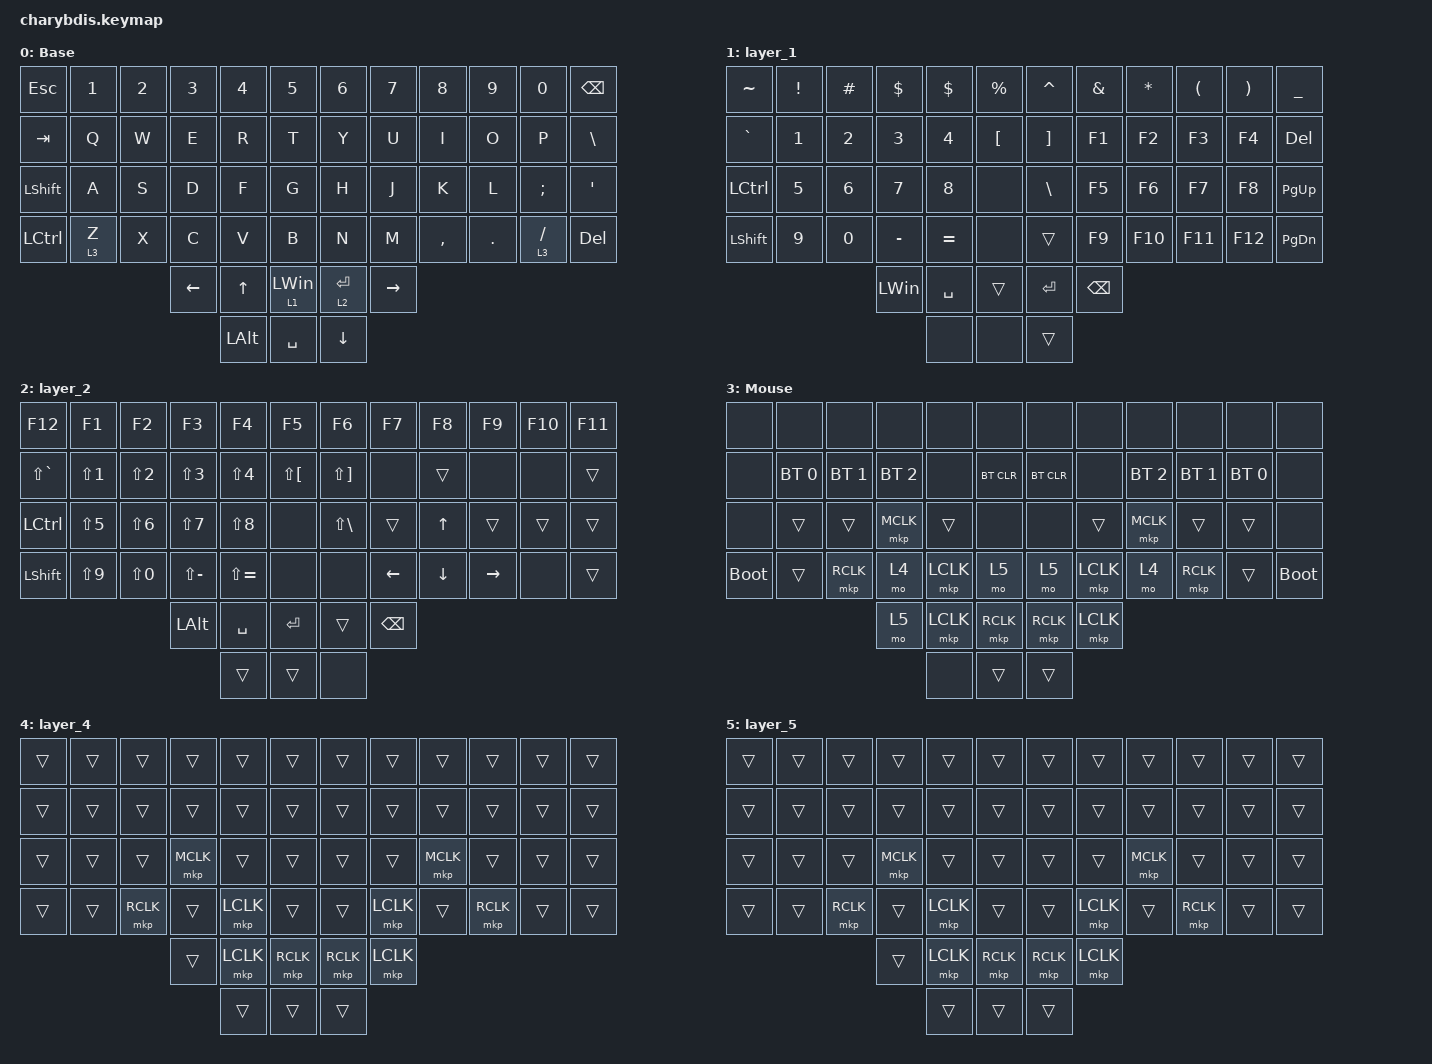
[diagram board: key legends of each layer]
#include <behaviors.dtsi>
#include <dt-bindings/zmk/bt.h>
#include <dt-bindings/zmk/keys.h>
#include <dt-bindings/zmk/mouse.h>

&lt {
    tapping-term-ms = <200>;
    flavor = "balanced";
    quick-tap-ms = <150>;
};

/ {
    combos {
        compatible = "zmk,combos";

        escc {
            bindings = <&kp ESC>;
            key-positions = <17 18>;
            layers = <0>;
        };
    };

    trackball_listener {
        compatible = "zmk,input-behavior-listener";
        device = <&vtrackball>;
        layers = <0 2 7>;
        evt-type = <INPUT_EV_REL>;
        x-input-code = <INPUT_REL_X>;
        y-input-code = <INPUT_REL_Y>;
        scale-multiplier = <2>;  // Increase multiplier for faster speed
        scale-divisor = <1>;     // Decrease divisor for faster speed
        bindings = <&ib_toggle_layer 7>;
    };

    keymap {
        compatible = "zmk,keymap";

        Base {
            bindings = <
&kp ESC         &kp N1   &kp N2  &kp N3          &kp N4        &kp N5            &kp N6          &kp N7           &kp N8     &kp N9   &kp N0       &kp BSPC
&kp TAB         &kp Q    &kp W   &kp E           &kp R         &kp T             &kp Y           &kp U            &kp I      &kp O    &kp P        &kp BACKSLASH
&kp LEFT_SHIFT  &kp A    &kp S   &kp D           &kp F         &kp G             &kp H           &kp J            &kp K      &kp L    &kp SEMI     &kp APOS
&kp LCTRL       &lt 3 Z  &kp X   &kp C           &kp V         &kp B             &kp N           &kp M            &kp COMMA  &kp DOT  &lt 3 SLASH  &kp DELETE
                                 &kp LEFT_ARROW  &kp UP_ARROW  &lt 1 LEFT_WIN    &lt 2 ENTER     &kp RIGHT_ARROW
                                                 &kp LEFT_ALT  &kp SPACE         &kp DOWN_ARROW
            >;

            trackball-bindings = <&tmv_coarse>;
        };

        layer_1 {
            bindings = <
&kp TILDE         &kp EXCLAMATION  &kp HASH      &kp DOLLAR    &kp DOLLAR    &kp PERCENT    &kp CARET  &kp AMPERSAND  &kp ASTERISK  &kp LEFT_PARENTHESIS  &kp RIGHT_PARENTHESIS  &kp UNDERSCORE
&kp GRAVE         &kp NUMBER_1     &kp NUMBER_2  &kp NUMBER_3  &kp NUMBER_4  &kp LBKT       &kp RBKT   &kp F1         &kp F2        &kp F3                &kp F4                 &kp DEL
&kp LEFT_CONTROL  &kp NUMBER_5     &kp NUMBER_6  &kp NUMBER_7  &kp NUMBER_8  &none          &kp BSLH   &kp F5         &kp F6        &kp F7                &kp F8                 &kp PAGE_UP
&kp LSHFT         &kp NUMBER_9     &kp NUMBER_0  &kp MINUS     &kp EQUAL     &none          &trans     &kp F9         &kp F10       &kp F11               &kp F12                &kp PAGE_DOWN
                                                 &kp LEFT_WIN  &kp SPACE     &trans         &kp ENTER  &kp BACKSPACE
                                                               &none         &none          &trans
            >;
        };

        layer_2 {
            bindings = <
&kp F12           &kp F1      &kp F2      &kp F3         &kp F4         &kp F5          &kp F6        &kp F7         &kp F8    &kp F9     &kp F10  &kp F11
&kp LS(GRAVE)     &kp LS(N1)  &kp LS(N2)  &kp LS(N3)     &kp LS(N4)     &kp LS(LBKT)    &kp LS(RBKT)  &none          &trans    &none      &none    &trans
&kp LEFT_CONTROL  &kp LS(N5)  &kp LS(N6)  &kp LS(N7)     &kp LS(N8)     &none           &kp LS(BSLH)  &trans         &kp UP    &trans     &trans   &trans
&kp LEFT_SHIFT    &kp LS(N9)  &kp LS(N0)  &kp LS(MINUS)  &kp LS(EQUAL)  &none           &none         &kp LEFT       &kp DOWN  &kp RIGHT  &none    &trans
                                          &kp LEFT_ALT   &kp SPACE      &kp ENTER       &trans        &kp BACKSPACE
                                                         &trans         &trans          &none
            >;
        };

        Mouse {
            bindings = <
&none        &none         &none         &none         &none      &none         &none       &none      &none         &none         &none         &none
&none        &bt BT_SEL 0  &bt BT_SEL 1  &bt BT_SEL 2  &none      &bt BT_CLR    &bt BT_CLR  &none      &bt BT_SEL 2  &bt BT_SEL 1  &bt BT_SEL 0  &none
&none        &trans        &trans        &mkp MCLK     &trans     &none         &none       &trans     &mkp MCLK     &trans        &trans        &none
&bootloader  &trans        &mkp RCLK     &mo 4         &mkp LCLK  &mo 5         &mo 5       &mkp LCLK  &mo 4         &mkp RCLK     &trans        &bootloader
                                         &mo 5         &mkp LCLK  &mkp RCLK     &mkp RCLK   &mkp LCLK
                                                       &none      &trans        &trans
            >;
        };

        layer_4 {
            bindings = <
&trans  &trans  &trans     &trans     &trans     &trans       &trans     &trans     &trans     &trans     &trans  &trans
&trans  &trans  &trans     &trans     &trans     &trans       &trans     &trans     &trans     &trans     &trans  &trans
&trans  &trans  &trans     &mkp MCLK  &trans     &trans       &trans     &trans     &mkp MCLK  &trans     &trans  &trans
&trans  &trans  &mkp RCLK  &trans     &mkp LCLK  &trans       &trans     &mkp LCLK  &trans     &mkp RCLK  &trans  &trans
                           &trans     &mkp LCLK  &mkp RCLK    &mkp RCLK  &mkp LCLK
                                      &trans     &trans       &trans
            >;

            trackball-bindings = <&tsl>;//滚轮层
        };

        layer_5 {
            bindings = <
&trans  &trans  &trans     &trans     &trans     &trans       &trans     &trans     &trans     &trans     &trans  &trans
&trans  &trans  &trans     &trans     &trans     &trans       &trans     &trans     &trans     &trans     &trans  &trans
&trans  &trans  &trans     &mkp MCLK  &trans     &trans       &trans     &trans     &mkp MCLK  &trans     &trans  &trans
&trans  &trans  &mkp RCLK  &trans     &mkp LCLK  &trans       &trans     &mkp LCLK  &trans     &mkp RCLK  &trans  &trans
                           &trans     &mkp LCLK  &mkp RCLK    &mkp RCLK  &mkp LCLK
                                      &trans     &trans       &trans
            >;

            trackball-bindings = <&tmv_fine>;//精准指针层
        };
    };
};
